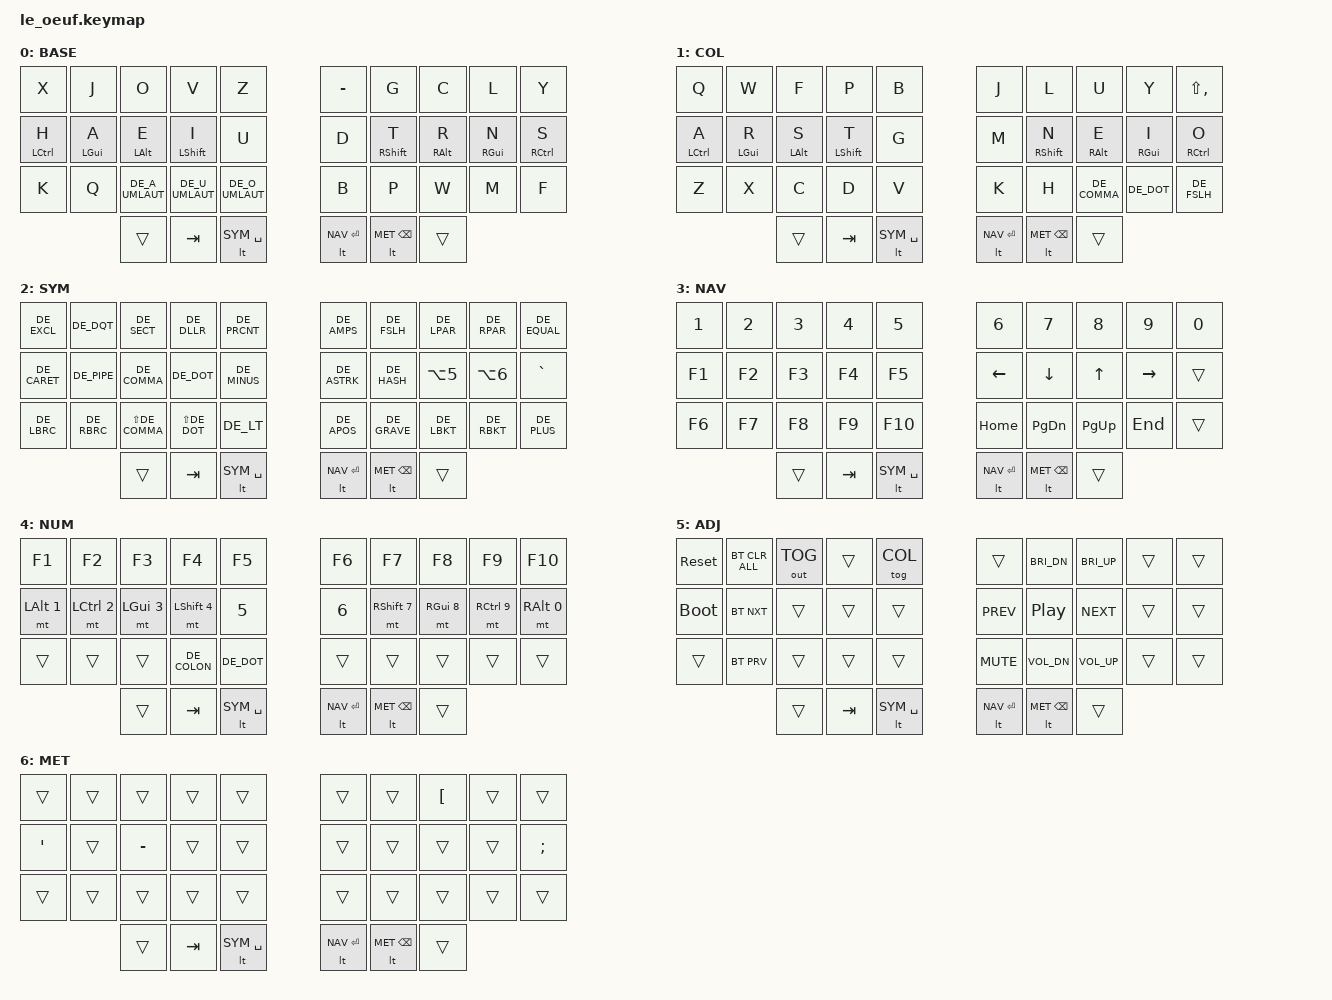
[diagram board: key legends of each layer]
#include <behaviors.dtsi>
#include <dt-bindings/zmk/keys.h>
#include <dt-bindings/zmk/bt.h>
#include <dt-bindings/zmk/outputs.h>

#include "keys_de.h"

#define BASE 0
#define COL  1
#define SYM 2
#define NAV  3
#define NUM  4
#define ADJ  5
#define MET  6

/ {
    chosen {
      zmk,battery = &vbatt;
    };

    vbatt: vbatt {
        compatible = "zmk,battery-nrf-vddh";
    };

    behaviors {

        am: alpha_mods {
            compatible = "zmk,behavior-hold-tap";
            label = "ALPHA_MT";
            #binding-cells = <2>;
            tapping-term-ms = <200>;
            quick-tap-ms = <150>;
            flavor = "balanced";
            bindings = <&kp>, <&kp>;
        };
        as: alpha_shift {
            compatible = "zmk,behavior-hold-tap";
            label = "ALPHA_SFT";
            #binding-cells = <2>;
            tapping-term-ms = <200>;
            quick-tap-ms = <150>;
            flavor = "balanced";
            bindings = <&kp>, <&kp>;
        };

        // Easy alt-tab with alt+backspace thumb using mod-morphs
        bstab: backspace_tab {
            compatible = "zmk,behavior-mod-morph";
            label = "BSPC_TAB";
            #binding-cells = <0>;
            bindings = <&kp BSPC>, <&kp TAB>;
            mods = <LALT>;
        };
        lt_bspc: layer_tap_backspace_tab {
            compatible = "zmk,behavior-hold-tap";
            label = "LT_BT";
            #binding-cells = <2>;
            tapping-term-ms = <150>;
            flavor = "balanced";
            bindings = <&mo>, <&bstab>;
        };
        mt: mod_tap {
            compatible = "zmk,behavior-hold-tap";
            #binding-cells = <2>;
            quick-tap-ms = <100>;
            flavor = "balanced";
            tapping-term-ms = <170>;
        };
        lt: layer_tap {
            compatible = "zmk,behavior-hold-tap";
            #binding-cells = <2>;
            quick-tap-ms = <100>;
            flavor = "balanced";
            tapping-term-ms = <170>;
        };
    };

    cond_layers {
        compatible = "zmk,conditional-layers";
        // Define ADJ layer as tri-state
        func_tristate {
            if-layers = <NAV SYM>;
            then-layer = <ADJ>;
        };
    };

    combos {
        compatible = "zmk,combos";
        combo_esc {
            timeout-ms = <40>;
            key-positions = <1 2>;
            bindings = <&kp ESC>;
        };
        combo_dot {
            timeout-ms = <40>;
            key-positions = <12 13>;
            bindings = <&kp DOT>;
        };
        combo_comma {
            timeout-ms = <40>;
            key-positions = <11 12>;
            bindings = <&kp COMMA>;
        };
    };
        

    keymap {
        compatible = "zmk,keymap";
        base_layer {
            label= "BASE";
            bindings = <
                        &kp X         &kp J         &kp O         &kp V         &kp Z              &kp MINUS       &kp G           &kp C           &kp L        &kp Y         
                        &am LCTRL H   &am LGUI A    &am LALT E    &as LSHFT I   &kp U               &kp D           &as RSHFT T     &am RALT R      &am RGUI N   &am RCTRL S   
                        &kp K         &kp Q         &kp DE_A_UMLAUT       &kp DE_U_UMLAUT      &kp DE_O_UMLAUT            &kp B           &kp P            &kp W          &kp M        &kp F      
                                                     &trans  &kp TAB       &lt SYM SPACE                   &lt NAV RET     &lt MET BSPC &trans
                                                
            >;
        };
      
        colemakdh_layer {
            label= "COL";
            bindings = <
                    &kp Q        &kp W          &kp F        &kp P          &kp B              &kp J          &kp L        &kp U         &kp Y        &kp LS(COMMA)
                    &am LCTRL A   &am LGUI R    &am LALT S    &as LSHFT T   &kp G              &kp M          &as RSHFT N   &am RALT E   &am RGUI I    &am RCTRL O   
                    &kp Z         &kp X          &kp C          &kp D        &kp V             &kp K          &kp H       &kp DE_COMMA    &kp DE_DOT     &kp DE_FSLH
                                                     &trans  &kp TAB       &lt SYM SPACE                   &lt NAV RET     &lt MET BSPC &trans
            >;
        };

        sim_layer {
            label= "SYM";
            bindings = <
                    &kp DE_EXCL     &kp DE_DQT     &kp DE_SECT        &kp DE_DLLR        &kp DE_PRCNT         &kp DE_AMPS        &kp DE_FSLH       &kp DE_LPAR     &kp DE_RPAR    &kp DE_EQUAL       
                    &kp DE_CARET       &kp DE_PIPE     &kp DE_COMMA       &kp DE_DOT         &kp DE_MINUS          &kp DE_ASTRK  &kp DE_HASH  &kp LA(N5) &kp LA(N6)  &kp GRAVE
                    &kp DE_LBRC     &kp DE_RBRC     &kp LS(DE_COMMA)   &kp LS(DE_DOT)     &kp DE_LT            &kp DE_APOS         &kp DE_GRAVE         &kp DE_LBKT     &kp DE_RBKT  &kp DE_PLUS      
                                                     &trans  &kp TAB       &lt SYM SPACE                   &lt NAV RET     &lt MET BSPC &trans
            >;
        };
       
  
        nav_layer {
            label= "NAV";
	          bindings = <
                        &kp N1        &kp N2        &kp N3        &kp N4         &kp N5           &kp N6        &kp N7        &kp N8        &kp N9         &kp N0       
                        &kp F1        &kp F2        &kp F3        &kp F4        &kp F5            &kp LEFT      &kp DOWN      &kp UP        &kp RIGHT     &trans        
                        &kp F6        &kp F7        &kp F8        &kp F9        &kp F10           &kp HOME      &kp PG_DN     &kp PG_UP     &kp END       &trans        
                                                     &trans  &kp TAB       &lt SYM SPACE                   &lt NAV RET     &lt MET BSPC &trans
            >;
        };

        num_layer {
            label= "NUM";
	          bindings = <
                &kp F1          &kp F2          &kp F3          &kp F4          &kp F5                &kp F6          &kp F7          &kp F8          &kp F9          &kp F10
                &mt LALT N1     &mt LCTRL N2    &mt LGUI N3     &mt LSHFT N4    &kp N5                &kp N6          &mt RSHFT N7    &mt RGUI N8     &mt RCTRL N9    &mt RALT N0
                &trans          &trans          &trans          &kp DE_COLON    &kp DE_DOT            &trans          &trans          &trans          &trans          &trans
                                                     &trans  &kp TAB       &lt SYM SPACE                   &lt NAV RET     &lt MET BSPC &trans
            >;
        };

        adjust_layer {
            label= "ADJ";
	          bindings = <
                &sys_reset      &bt BT_CLR_ALL  &out OUT_TOG    &trans          &tog COL              &trans           &kp C_BRI_DN  &kp C_BRI_UP      &trans        &trans   
                &bootloader     &bt BT_NXT      &trans          &trans          &trans                &kp C_PREV       &kp C_PP      &kp C_NEXT         &trans        &trans   
                &trans          &bt BT_PRV      &trans          &trans          &trans                &kp C_MUTE       &kp C_VOL_DN  &kp C_VOL_UP        &trans        &trans    
                                                     &trans  &kp TAB       &lt SYM SPACE                   &lt NAV RET     &lt MET BSPC &trans
            >;
        };
         metall_layer {
            label = "MET";
            bindings = <
                    &trans        &trans        &trans        &trans        &trans       &trans        &trans        &kp LBKT      &trans        &trans        
                    &kp SQT        &trans        &kp MINUS    &trans        &trans              &trans        &trans        &trans        &trans        &kp SEMI        
                    &trans        &trans        &trans        &trans        &trans              &trans        &trans        &trans        &trans        &trans        
                                                     &trans  &kp TAB       &lt SYM SPACE                   &lt NAV RET     &lt MET BSPC &trans
            >;
        };
    };
};
